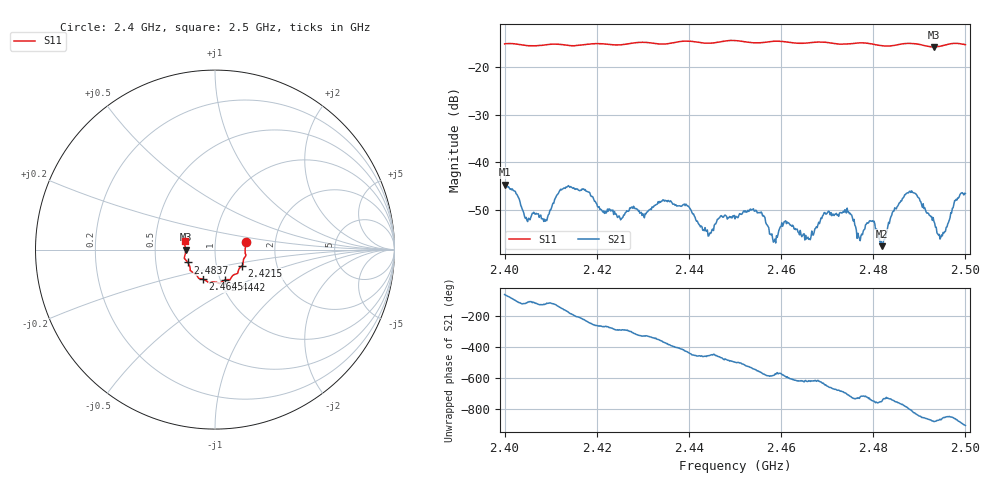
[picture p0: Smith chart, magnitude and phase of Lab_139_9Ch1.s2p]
# Hz S RI R 50
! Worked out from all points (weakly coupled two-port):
!   601 points, 2.4 GHz to 2.5 GHz, reference 50 ohm
!   highest |S21| = -44.72 dB at 2.4 GHz (marker M1); lowest = -57.7 dB at 2.4818 GHz (marker M2)
!   lowest |S11| = -15.7 dB at 2.4932 GHz (marker M3), VSWR 1.39, Z = 35.9 - j0.0605 ohm
!   |S11| at or under -10 dB: start of sweep to end of sweep
!   S12 and S22 are empty: the file has one direction only
!   S11 on the Smith chart (normalised r, x): 2.4 GHz: 1.41, +0.12; 2.4215 GHz: 1.33, -0.25; 2.4442 GHz: 1.05, -0.37; 2.4645 GHz: 0.83, -0.29; 2.4837 GHz: 0.73, -0.11; 2.5 GHz: 0.71, +0.07
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2.4e9  0.1711 0.0405  0.00299 -0.00498  0 0  0 0
2.405e9  0.1681 0.00938  -0.000704 -0.00225  0 0  0 0
2.416667e9  0.1565 -0.0697  -0.00424 0.00273  0 0  0 0
2.4215e9  0.1512 -0.0898  -0.000266 0.00304  0 0  0 0
2.433333e9  0.1083 -0.1384  0.00376 0.000733  0 0  0 0
2.4395e9  0.084 -0.1684  0.00138 -0.00325  0 0  0 0
2.444167e9  0.0567 -0.1693  -0.000108 -0.00166  0 0  0 0
2.45e9  0.0252 -0.1891  -0.00182 -0.00175  0 0  0 0
2.455667e9  -0.014 -0.1806  -0.00277 0.0011  0 0  0 0
2.458667e9  -0.0311 -0.1851  -0.00131 0.000817  0 0  0 0
2.4645e9  -0.0658 -0.1658  -0.000351 0.0016  0 0  0 0
2.466667e9  -0.0825 -0.162  -0.00041 0.00183  0 0  0 0
2.474e9  -0.1148 -0.1323  0.00282 0.00133  0 0  0 0
2.476833e9  -0.1342 -0.1201  0.00162 -0.000224  0 0  0 0
2.479667e9  -0.1384 -0.1085  0.00219 -0.000918  0 0  0 0
2.481833e9  -0.1415 -0.0915  0.00113 -0.000636  0 0  0 0
2.483333e9  -0.149 -0.0751  0.00228 -0.000426  0 0  0 0
2.483667e9  -0.1511 -0.0718  0.00245 -0.000531  0 0  0 0
2.488333e9  -0.1712 -0.0472  5.05e-05 -0.00497  0 0  0 0
2.493167e9  -0.1635 -0.000819  -0.00223 -0.000846  0 0  0 0
2.495e9  -0.167 0.0209  -0.00124 -0.00112  0 0  0 0
2.5e9  -0.1651 0.0504  -0.00466 0.000324  0 0  0 0
